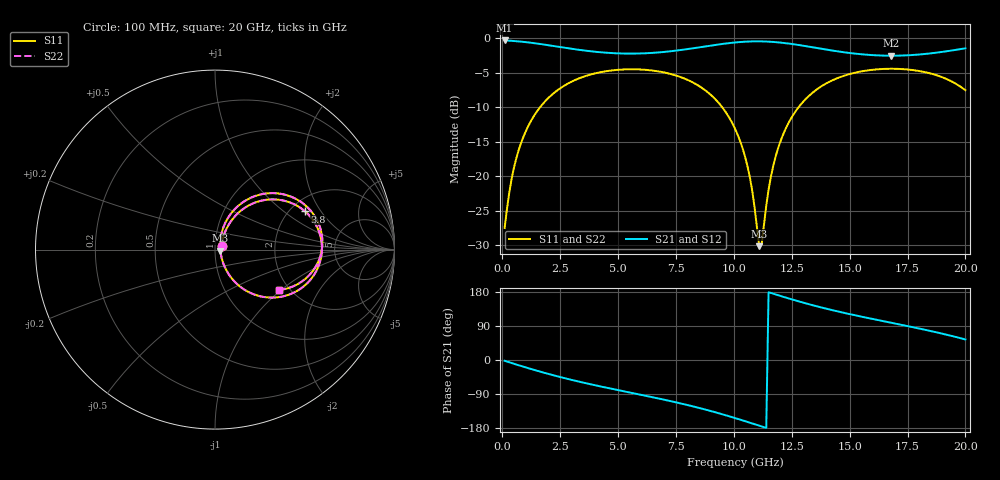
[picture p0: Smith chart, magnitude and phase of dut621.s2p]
! Touchstone file exported from HFSS 2026.1.0
!  File:  C:/ffzhzh/LocalFiles/Ansys_Project_Files/temp_train_TSV_RDL_621_1783124946_50312.aedt
!  Generated:  08:41:18 AM Jul  4, 2026
!  Design:  TSV_RDL
!  Project:  temp_train_TSV_RDL_621_1783124946_50312
! Variables:
!  h_bsmrdl = 4.73um
!  h_ox = 20um
!  h_rdl = 5um
!  h_sub = 63.51um
!  h_tmrdl = 2.47um
!  h_tsv = 63.51um
!  h_via = 3um
!  l_bsmrdl = 259.94um
!  l_sub = 5255.32um
!  l_tmrdl = 994.53um
!  m_sub = 200um
!  pitch = 52.24um
!  r_tsv = 14.65um
!  s_tmrdl = 10um
!  w_bsmrdl = 14.64um
!  w_sub = 500um
!  w_tmrdl = 17.82um
!  x_tsv_center1 = 1003.44um
!  x_tsv_center2 = 1278.02um
!  x_tsv_center3 = 2290.37um
!  x_tsv_center4 = 2564.95um
!  x_tsv_center5 = 3577.3um
!  x_tsv_center6 = 3851.88um
# GHz S MA R 50.000000
! Terminal data exported
! Port[1] = TM_RDL1_1_T1
! Port[2] = TM_RDL5_1_T1
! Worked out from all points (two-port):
!   200 points, 100 MHz to 20 GHz, reference 50 ohm
!   highest |S21| = -0.32 dB at 100 MHz (marker M1); lowest = -2.5 dB at 16.8 GHz (marker M2)
!   |S21| within 3 dB of the highest: start of sweep to end of sweep
!   lowest |S11| = -30.2 dB at 11.1 GHz (marker M3), VSWR 1.06, Z = 53.1 - j0.679 ohm
!   |S11| at or under -10 dB: start of sweep to 1.634 GHz; 9.496 GHz to 12.8 GHz (3.301 GHz wide, 29.6 % of centre)
!   |S22| runs from -30.3 to -4.4 dB; largest |S21 - S12| = 1.7e-14
!   S11 on the Smith chart (normalised r, x): 100 MHz: 1.07, +0.05; 3.8 GHz: 2.40, +1.45; 20 GHz: 1.76, -0.96
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0.1  0.04202 30.2  0.9642 -2.0  0.9642 -2.0  0.04202 30.2
! Gamma 0 0 0 0
! Port Impedance 50 0 50 0
0.5  0.1144 60.4  0.9556 -9.9  0.9556 -9.9  0.1144 60.4
1.2  0.2445 57.5  0.9298 -23.0  0.9298 -23.0  0.2445 57.5
2.2  0.3972 44.3  0.8796 -40.2  0.8796 -40.2  0.3972 44.3
3.5  0.5258 26.8  0.8167 -59.7  0.8167 -59.7  0.5258 26.8
3.8  0.5452 23.0  0.8054 -63.9  0.8054 -63.9  0.5452 23.0
5.3  0.5947 4.8  0.7747 -83.2  0.7747 -83.2  0.5947 4.8
6.8  0.573 -13.2  0.7907 -102.3  0.7907 -102.3  0.573 -13.2
8.8  0.4152 -40.1  0.8744 -131.3  0.8744 -131.3  0.4152 -40.1
10.1  0.2118 -58.3  0.9339 -154.1  0.9339 -154.1  0.2118 -58.4
10.7  0.09638 -59.6  0.9481 -165.6  0.9481 -165.6  0.09626 -59.9
11.1  0.03104 -11.9  0.95 -173.4  0.95 -173.4  0.0305 -12.3
11.2  0.032 24.8  0.9495 -175.3  0.9495 -175.3  0.03144 25.1
11.6  0.09897 68.0  0.9432 176.9  0.9432 176.9  0.09873 68.3
12  0.1764 68.3  0.9311 169.3  0.9311 169.3  0.1762 68.5
12.6  0.2841 61.3  0.9043 158.2  0.9043 158.2  0.284 61.5
13.4  0.4029 49.9  0.8604 144.6  0.8604 144.6  0.4027 50.0
14.8  0.5376 31.0  0.7898 123.8  0.7898 123.8  0.5375 31.1
16.7  0.6009 8.3  0.7476 99.5  0.7476 99.5  0.6008 8.4
16.8  0.6011 7.1  0.7474 98.2  0.7474 98.2  0.601 7.2
18.4  0.5607 -11.7  0.7738 77.8  0.7738 77.8  0.5607 -11.6
20  0.42 -32.5  0.8453 54.2  0.8453 54.2  0.42 -32.4
